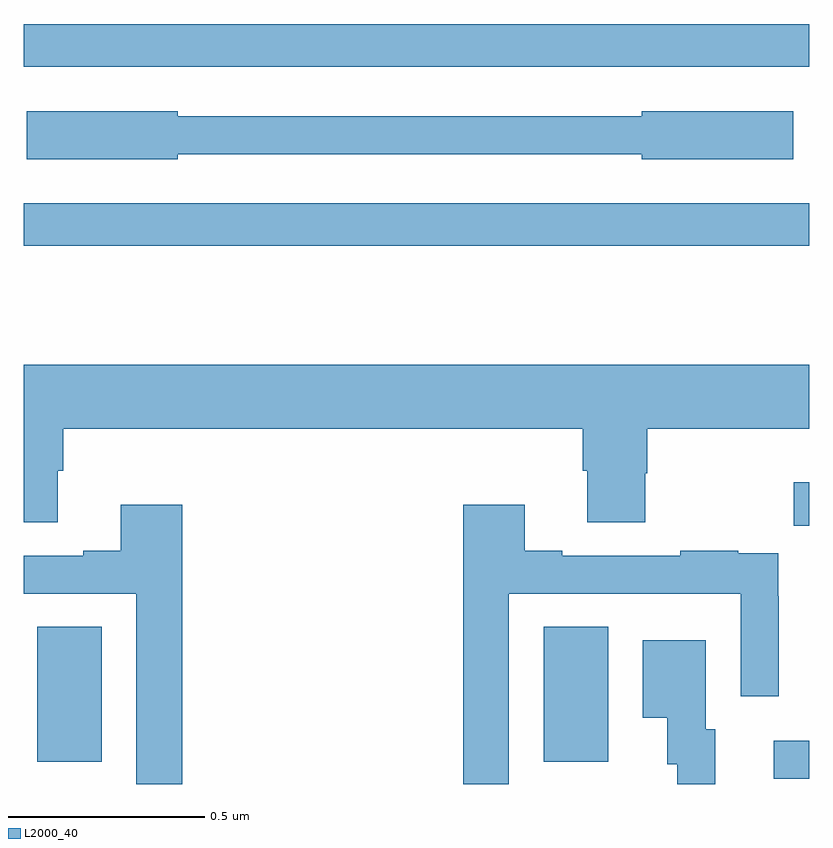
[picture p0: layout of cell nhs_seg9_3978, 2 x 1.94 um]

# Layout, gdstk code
import gdstk
lib = gdstk.Library(unit=1e-6, precision=1e-09)
def R(c, l, rs):  # rectangles x0, y0, x1, y1
    for r in rs: c.add(gdstk.rectangle(r[:2], r[2:], *l))
def P(c, l, *ps):  # polygons
    for p in ps: c.add(gdstk.Polygon(p, *l))
L2000_40 = (2000, 40)

nhs_seg9_3978 = lib.new_cell('nhs_seg9_3978')
R(nhs_seg9_3978, L2000_40, [(161.91,1211.514,162,1211.61), (160.034,1211.557,160.198,1211.9), (161.324,1211.557,161.488,1211.9), (161.961,1212.158,162,1212.268), (160,1212.87,162,1212.978), (160,1213.326,162,1213.435)])
P(nhs_seg9_3978, L2000_40, [(160.392,1213.104),(161.574,1213.104),(161.574,1213.091),(161.959,1213.091),(161.959,1213.213),(161.574,1213.213),(161.574,1213.2),(160.392,1213.2),(160.392,1213.213),(160.008,1213.213),(160.008,1213.091),(160.392,1213.091)],
  [(160.087,1212.298),(160.1,1212.298),(160.1,1212.404),(161.423,1212.404),(161.423,1212.298),(161.435,1212.298),(161.435,1212.166),(161.583,1212.166),(161.583,1212.291),(161.588,1212.291),(161.588,1212.404),(162,1212.404),(162,1212.568),(160,1212.568),(160,1212.166),(160.087,1212.166)],
  [(161.235,1211.985),(161.826,1211.985),(161.826,1211.724),(161.922,1211.724),(161.922,1211.978),(161.921,1211.978),(161.921,1212.087),(161.819,1212.087),(161.819,1212.094),(161.671,1212.094),(161.671,1212.081),(161.371,1212.081),(161.371,1212.094),(161.275,1212.094),(161.275,1212.211),(161.119,1212.211),(161.119,1211.5),(161.235,1211.5)],
  [(160.403,1212.211),(160.247,1212.211),(160.247,1212.094),(160.151,1212.094),(160.151,1212.081),(160,1212.081),(160,1211.985),(160.287,1211.985),(160.287,1211.5),(160.403,1211.5)],
  [(161.761,1211.64),(161.737,1211.64),(161.737,1211.866),(161.576,1211.866),(161.576,1211.669),(161.639,1211.669),(161.639,1211.55),(161.664,1211.55),(161.664,1211.5),(161.761,1211.5)])

lib.write_gds('nhs_seg9_3978.gds')
